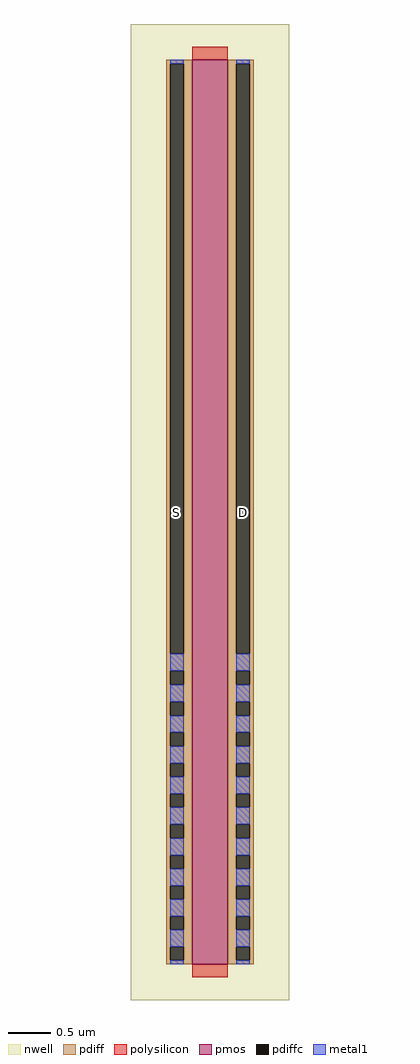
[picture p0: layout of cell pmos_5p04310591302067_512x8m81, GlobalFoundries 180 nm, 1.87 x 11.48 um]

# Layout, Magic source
magic
tech gf180mcuD
magscale 1 10
<< nwell >>
rect -145 -84 229 2212
<< pmos >>
rect 0 0 84 2128
<< pdiff >>
rect -61 2118 0 2128
rect -61 730 -52 2118
rect -20 730 0 2118
rect -61 690 0 730
rect -61 658 -52 690
rect -20 658 0 690
rect -61 618 0 658
rect -61 585 -52 618
rect -20 585 0 618
rect -61 546 0 585
rect -61 513 -52 546
rect -20 513 0 546
rect -61 473 0 513
rect -61 441 -52 473
rect -20 441 0 473
rect -61 401 0 441
rect -61 369 -52 401
rect -20 369 0 401
rect -61 329 0 369
rect -61 297 -52 329
rect -20 297 0 329
rect -61 257 0 297
rect -61 225 -52 257
rect -20 225 0 257
rect -61 185 0 225
rect -61 153 -52 185
rect -20 153 0 185
rect -61 113 0 153
rect -61 81 -52 113
rect -20 81 0 113
rect -61 41 0 81
rect -61 9 -52 41
rect -20 9 0 41
rect -61 0 0 9
rect 84 2118 145 2128
rect 84 730 104 2118
rect 136 730 145 2118
rect 84 690 145 730
rect 84 658 104 690
rect 136 658 145 690
rect 84 618 145 658
rect 84 585 104 618
rect 136 585 145 618
rect 84 546 145 585
rect 84 513 104 546
rect 136 513 145 546
rect 84 473 145 513
rect 84 441 104 473
rect 136 441 145 473
rect 84 401 145 441
rect 84 369 104 401
rect 136 369 145 401
rect 84 329 145 369
rect 84 297 104 329
rect 136 297 145 329
rect 84 257 145 297
rect 84 225 104 257
rect 136 225 145 257
rect 84 185 145 225
rect 84 153 104 185
rect 136 153 145 185
rect 84 113 145 153
rect 84 81 104 113
rect 136 81 145 113
rect 84 41 145 81
rect 84 9 104 41
rect 136 9 145 41
rect 84 0 145 9
<< pdiffc >>
rect -52 730 -20 2118
rect -52 658 -20 690
rect -52 585 -20 618
rect -52 513 -20 546
rect -52 441 -20 473
rect -52 369 -20 401
rect -52 297 -20 329
rect -52 225 -20 257
rect -52 153 -20 185
rect -52 81 -20 113
rect -52 9 -20 41
rect 104 730 136 2118
rect 104 658 136 690
rect 104 585 136 618
rect 104 513 136 546
rect 104 441 136 473
rect 104 369 136 401
rect 104 297 136 329
rect 104 225 136 257
rect 104 153 136 185
rect 104 81 136 113
rect 104 9 136 41
<< polysilicon >>
rect 0 2128 84 2158
rect 0 -30 84 0
<< metal1 >>
rect -52 2118 -20 2128
rect -52 690 -20 730
rect -52 618 -20 658
rect -52 546 -20 585
rect -52 473 -20 513
rect -52 401 -20 441
rect -52 329 -20 369
rect -52 257 -20 297
rect -52 185 -20 225
rect -52 113 -20 153
rect -52 41 -20 81
rect -52 0 -20 9
rect 104 2118 136 2128
rect 104 690 136 730
rect 104 618 136 658
rect 104 546 136 585
rect 104 473 136 513
rect 104 401 136 441
rect 104 329 136 369
rect 104 257 136 297
rect 104 185 136 225
rect 104 113 136 153
rect 104 41 136 81
rect 104 0 136 9
<< labels >>
flabel pdiffc -36 1064 -36 1064 0 FreeSans 280 0 0 0 S
flabel pdiffc 120 1064 120 1064 0 FreeSans 280 0 0 0 D
<< end >>
